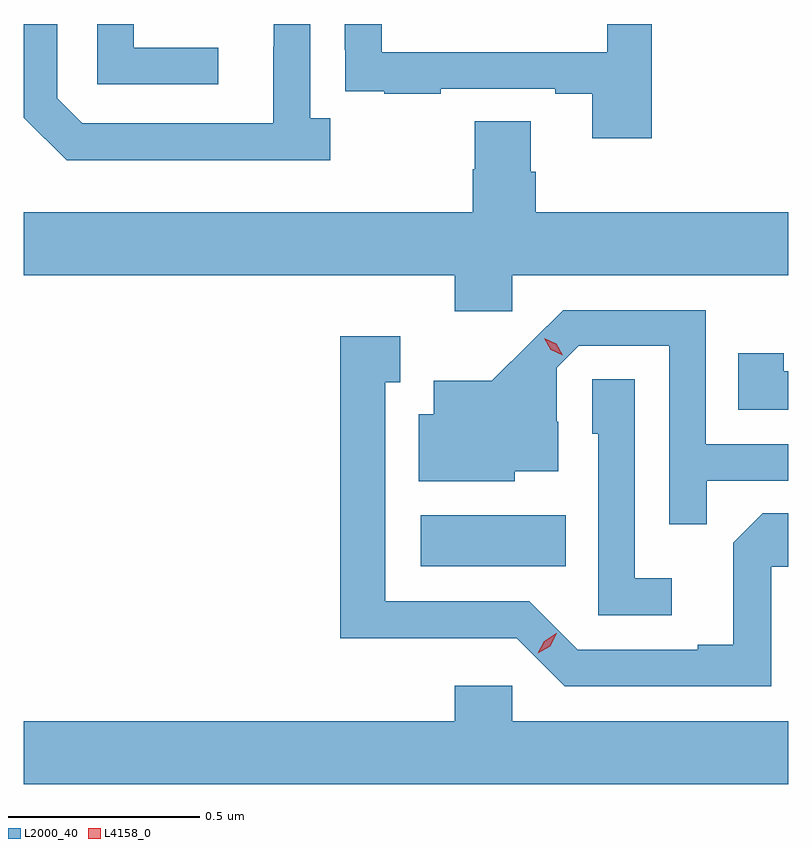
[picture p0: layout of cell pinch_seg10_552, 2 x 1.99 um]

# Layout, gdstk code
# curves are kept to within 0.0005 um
import gdstk
lib = gdstk.Library(unit=1e-6, precision=1e-09)
def R(c, l, rs):  # rectangles x0, y0, x1, y1
    for r in rs: c.add(gdstk.rectangle(r[:2], r[2:], *l))
def P(c, l, *ps):  # polygons
    for p in ps: c.add(gdstk.Polygon(p, *l))
L2000_40 = (2000, 40)
L4158_0 = (4158, 0)

pinch_seg10_552 = lib.new_cell('pinch_seg10_552')
R(pinch_seg10_552, L2000_40, [(231.282,1267.586,231.662,1267.72)])
P(pinch_seg10_552, L2000_40, [(231.046,1268.758),(230.994,1268.758),(230.994,1269.005),(230.898,1269.005),(230.898,1268.945),(230.897,1268.945),(230.897,1268.745),(230.397,1268.745),(230.331,1268.811),(230.331,1269.005),(230.244,1269.005),(230.244,1268.76),(230.356,1268.648),(231.046,1268.648)],
  [(231.887,1269.005),(231.771,1269.005),(231.771,1268.931),(231.18,1268.931),(231.18,1269.005),(231.084,1269.005),(231.084,1268.938),(231.085,1268.938),(231.085,1268.829),(231.187,1268.829),(231.187,1268.823),(231.335,1268.823),(231.335,1268.835),(231.635,1268.835),(231.635,1268.823),(231.731,1268.823),(231.731,1268.706),(231.887,1268.706)],
  [(230.752,1268.943),(230.532,1268.943),(230.532,1269.005),(230.436,1269.005),(230.436,1268.847),(230.752,1268.847)],
  [(231.424,1268.75),(231.424,1268.625),(231.419,1268.625),(231.419,1268.512),(230.244,1268.512),(230.244,1268.348),(231.371,1268.348),(231.371,1268.253),(231.522,1268.253),(231.522,1268.348),(232.244,1268.348),(232.244,1268.512),(231.584,1268.512),(231.584,1268.618),(231.571,1268.618),(231.571,1268.75)],
  [(232.031,1267.809),(232.244,1267.809),(232.244,1267.905),(232.029,1267.905),(232.029,1268.256),(231.656,1268.256),(231.469,1268.071),(231.317,1268.071),(231.317,1267.984),(231.278,1267.984),(231.278,1267.808),(231.528,1267.808),(231.528,1267.835),(231.643,1267.835),(231.643,1267.964),(231.639,1267.964),(231.639,1268.106),(231.696,1268.163),(231.933,1268.163),(231.933,1267.696),(232.031,1267.696)],
  [(232.2,1267.584),(232.244,1267.584),(232.244,1267.724),(232.177,1267.724),(232.101,1267.648),(232.101,1267.381),(232.007,1267.381),(232.007,1267.368),(231.693,1267.368),(231.567,1267.494),(231.19,1267.494),(231.19,1268.067),(231.229,1268.067),(231.229,1268.188),(231.072,1268.188),(231.072,1267.397),(231.312,1267.397),(231.312,1267.398),(231.534,1267.398),(231.66,1267.272),(232.2,1267.272)],
  [(232.244,1268.096),(232.233,1268.096),(232.233,1268.143),(232.114,1268.143),(232.114,1267.995),(232.244,1267.995)],
  [(231.94,1267.555),(231.843,1267.555),(231.843,1268.075),(231.732,1268.075),(231.732,1267.932),(231.747,1267.932),(231.747,1267.458),(231.94,1267.458)],
  [(232.244,1267.18),(231.522,1267.18),(231.522,1267.273),(231.371,1267.273),(231.371,1267.18),(230.244,1267.18),(230.244,1267.016),(232.244,1267.016)])
P(pinch_seg10_552, L4158_0, [(231.654,1268.138),(231.623,1268.153),(231.606,1268.182),(231.606,1268.182),(231.606,1268.182),(231.637,1268.168),(231.654,1268.138),(231.654,1268.138)],
  [(231.589,1267.358),(231.589,1267.358),(231.606,1267.39),(231.637,1267.41),(231.638,1267.41),(231.638,1267.41),(231.621,1267.377),(231.589,1267.358)])

lib.write_gds('pinch_seg10_552.gds')
